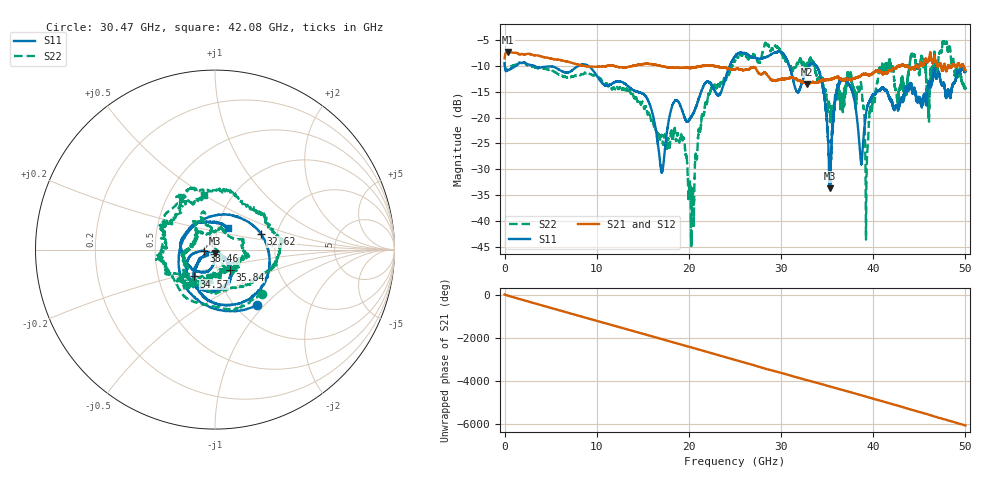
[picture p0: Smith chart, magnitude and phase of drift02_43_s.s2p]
!Created with skrf (http://scikit-rf.org).
# Hz S RI R 50.0
!freq ReS11 ImS11 ReS21 ImS21 ReS12 ImS12 ReS22 ImS22
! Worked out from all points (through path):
!   10001 points, 300 kHz to 50 GHz, reference 50 ohm
!   highest |S21| = -7.32 dB at 325.3 MHz (marker M1); lowest = -13.5 dB at 32.77 GHz (marker M2)
!   group delay of S21, straight-line fit = 335 ps
!   lowest |S11| = -33.7 dB at 35.31 GHz (marker M3), VSWR 1.04, Z = 50.1 - j2.08 ohm
!   |S11| at or under -10 dB: 3.229 GHz to 8.003 GHz (4.774 GHz wide, 85 % of centre); 9.107 GHz to 24.41 GHz (15.31 GHz wide, 91.3 % of centre); 33.83 GHz to end of sweep (the widest 3 of 7)
!   |S22| runs from -44.9 to -5.1 dB; largest |S21 - S12| = 0.013
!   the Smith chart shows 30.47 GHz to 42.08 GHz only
!   S11 on the Smith chart (normalised r, x): 30.47 GHz: 1.24, -0.91; 32.62 GHz: 1.65, +0.31; 34.57 GHz: 0.76, -0.24; 35.84 GHz: 1.15, -0.26; 38.46 GHz: 0.89, -0.01; 42.08 GHz: 1.12, +0.28
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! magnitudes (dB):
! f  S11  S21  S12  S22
! 300 kHz  -9.4  -8.5  -8.4  -9.4
! 325.3 MHz  -10.9  -7.3  -7.3  -10.5
! 8.335 GHz  -9.7  -9.9  -9.9  -11.6
! 16.67 GHz  -25.6  -9.9  -9.9  -23.0
! 19.31 GHz  -18.8  -10.4  -10.3  -24.4
! 20.35 GHz  -19.5  -10.3  -10.3  -34.4
! 21.94 GHz  -13.1  -10.0  -10.0  -17.2
! 25 GHz  -8.2  -10.6  -10.6  -9.0
! 30.47 GHz  -8.2  -12.5  -12.5  -8.8
! 32.62 GHz  -11.3  -13.2  -13.4  -10.5
! 32.77 GHz  -10.8  -13.5  -13.4  -9.9
! 33.34 GHz  -9.5  -13.2  -13.1  -9.1
! 34.57 GHz  -14.4  -12.8  -12.7  -13.1
! 35.31 GHz  -33.7  -12.6  -12.6  -19.5
! 35.84 GHz  -17.2  -12.3  -12.3  -16.1
! 37.25 GHz  -13.2  -12.6  -12.6  -11.8
! 38.46 GHz  -24.3  -12.1  -12.0  -15.0
! 39.31 GHz  -18.3  -11.6  -11.6  -28.5
! 41.67 GHz  -15.8  -10.9  -11.1  -9.7
! 42.08 GHz  -17.0  -10.7  -10.7  -10.2
! 47.77 GHz  -14.4  -9.8  -9.7  -5.5
! 50 GHz  -11.2  -10.8  -10.8  -14.1
